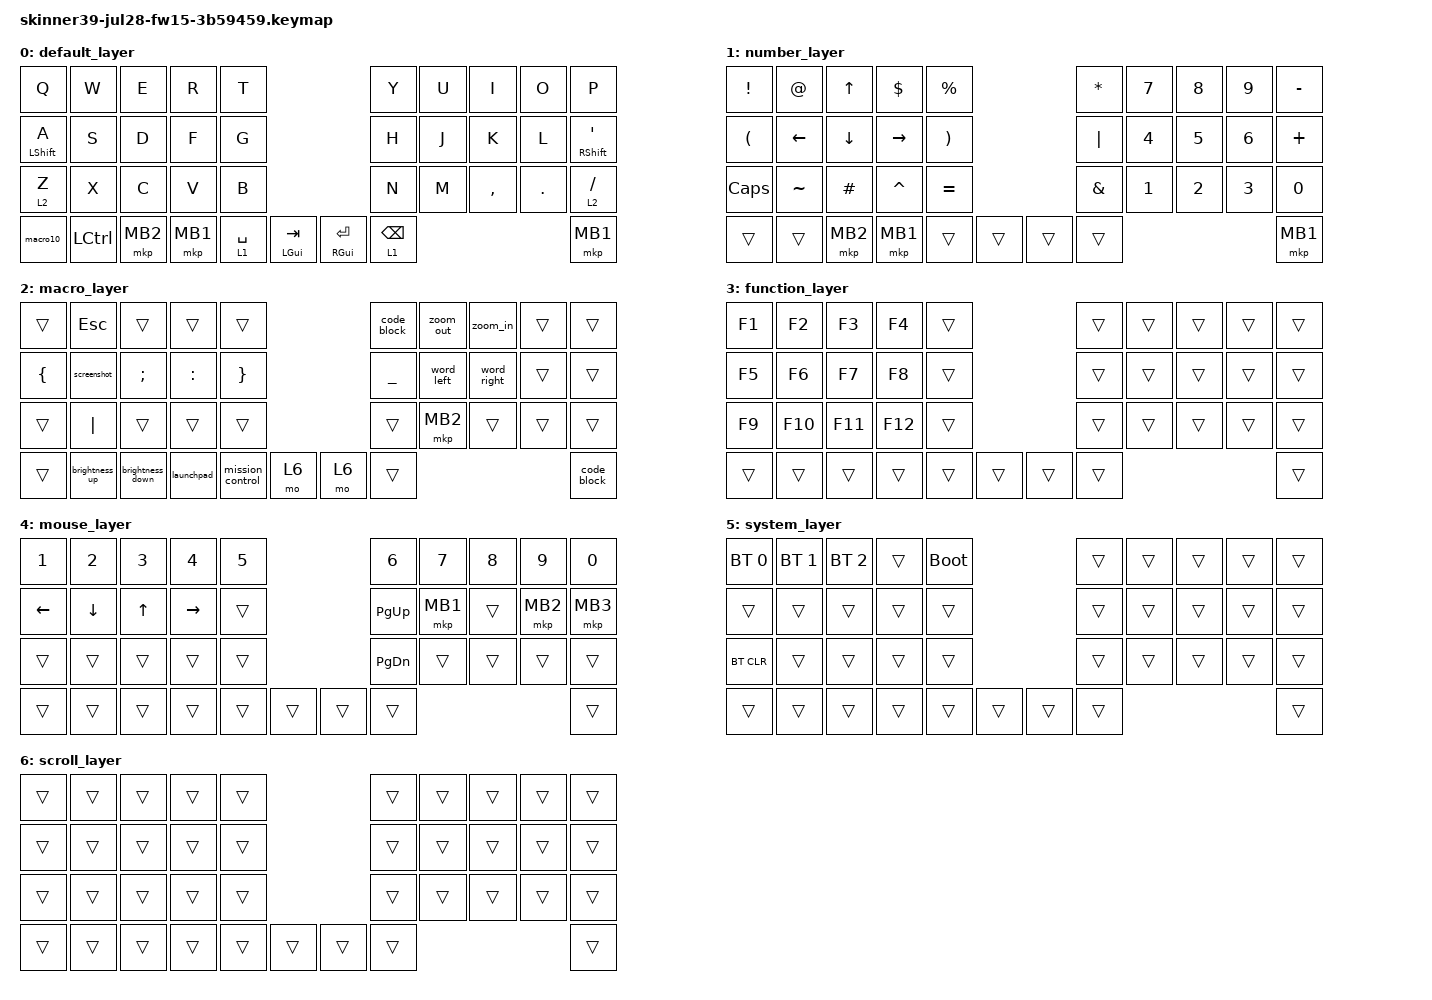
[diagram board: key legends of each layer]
#include <behaviors.dtsi>
#include <dt-bindings/zmk/bt.h>
#include <dt-bindings/zmk/keys.h>
#include <dt-bindings/zmk/pointing.h>
#include <input/processors.dtsi>
#include <dt-bindings/zmk/input_transform.h>

// Override the PMW listener to use layer 2 for scroll mode instead of layer 5
&pmw_listener {
    scroller {
        layers = <2>;  // Changed from 5 to 2
        // Invert Y axis and reduce scroll sensitivity (1/4 speed)
        input-processors = <&zip_xy_transform (INPUT_TRANSFORM_Y_INVERT)>, <&zip_xy_scaler 1 4>, <&zip_xy_to_scroll_mapper>;
    };
};

/ {
    behaviors {
        hml: homerow_mods_left {
            compatible = "zmk,behavior-hold-tap";
            label = "HOMEROW_MODS_LEFT";
            #binding-cells = <2>;
            flavor = "balanced";
            tapping-term-ms = <200>;      // Reduced from 280ms for faster shift activation
            quick-tap-ms = <125>;         // Reduced from 175ms
            require-prior-idle-ms = <100>; // Reduced from 150ms
            bindings = <&kp>, <&kp>;

            hold-trigger-key-positions = <5 6 7 8 9 15 16 17 18 19 25 26 27 28 29 33 34>;
            hold-trigger-on-release;
        };

        hmr: homerow_mods_right {
            compatible = "zmk,behavior-hold-tap";
            label = "HOMEROW_MODS_RIGHT";
            #binding-cells = <2>;
            flavor = "balanced";
            tapping-term-ms = <200>;      // Reduced from 280ms for faster shift activation
            quick-tap-ms = <125>;         // Reduced from 175ms
            require-prior-idle-ms = <100>; // Reduced from 150ms
            bindings = <&kp>, <&kp>;

            hold-trigger-key-positions = <0 1 2 3 4 10 11 12 13 14 20 21 22 23 24 30 31 32>;
            hold-trigger-on-release;
        };

        my_lt: my_layer_tap {
            compatible = "zmk,behavior-hold-tap";
            label = "MY_LAYER_TAP";
            #binding-cells = <2>;
            flavor = "balanced";
            tapping-term-ms = <280>;
            quick-tap-ms = <175>;
            require-prior-idle-ms = <150>;
            bindings = <&mo>, <&kp>;
        };
    };

    macros {
        screenshot: screenshot {
            compatible = "zmk,behavior-macro";
            label = "SCREENSHOT";
            #binding-cells = <0>;
            wait-ms = <40>;
            tap-ms = <40>;
            bindings =
                <&macro_press>,
                <&kp LGUI &kp LSHFT>,
                <&macro_tap>,
                <&kp N4>,
                <&macro_release>,
                <&kp LSHFT &kp LGUI>;
        };

        zoom_out: zoom_out {
            compatible = "zmk,behavior-macro";
            label = "ZOOM_OUT";
            #binding-cells = <0>;
            wait-ms = <40>;
            tap-ms = <40>;
            bindings =
                <&macro_press>,
                <&kp LGUI>,
                <&macro_tap>,
                <&kp MINUS>,
                <&macro_release>,
                <&kp LGUI>;
        };

        zoom_in: zoom_in {
            compatible = "zmk,behavior-macro";
            label = "ZOOM_IN";
            #binding-cells = <0>;
            wait-ms = <40>;
            tap-ms = <40>;
            bindings =
                <&macro_press>,
                <&kp LGUI &kp LSHFT>,
                <&macro_tap>,
                <&kp EQUAL>,
                <&macro_release>,
                <&kp LSHFT &kp LGUI>;
        };

        word_right: word_right {
            compatible = "zmk,behavior-macro";
            label = "WORD_RIGHT";
            #binding-cells = <0>;
            wait-ms = <40>;
            tap-ms = <40>;
            bindings =
                <&macro_press>,
                <&kp LCTRL>,
                <&macro_tap>,
                <&kp RIGHT>,
                <&macro_release>,
                <&kp LCTRL>;
        };

        word_left: word_left {
            compatible = "zmk,behavior-macro";
            label = "WORD_LEFT";
            #binding-cells = <0>;
            wait-ms = <40>;
            tap-ms = <40>;
            bindings =
                <&macro_press>,
                <&kp LCTRL>,
                <&macro_tap>,
                <&kp LEFT>,
                <&macro_release>,
                <&kp LCTRL>;
        };

        brightness_up: brightness_up {
            compatible = "zmk,behavior-macro";
            label = "BRIGHTNESS_UP";
            #binding-cells = <0>;
            bindings = <&kp F15>;
        };

        brightness_down: brightness_down {
            compatible = "zmk,behavior-macro";
            label = "BRIGHTNESS_DOWN";
            #binding-cells = <0>;
            bindings = <&kp F14>;
        };

        launchpad: launchpad {
            compatible = "zmk,behavior-macro";
            label = "LAUNCHPAD";
            #binding-cells = <0>;
            bindings = <&kp F4>;
        };

        mission_control: mission_control {
            compatible = "zmk,behavior-macro";
            label = "MISSION_CONTROL";
            #binding-cells = <0>;
            bindings = <&kp F3>;
        };

        code_block: code_block {
            compatible = "zmk,behavior-macro";
            label = "CODE_BLOCK";
            #binding-cells = <0>;
            wait-ms = <40>;
            tap-ms = <40>;
            bindings = <&kp GRAVE &kp GRAVE &kp GRAVE>;
        };

        macro10: macro10 {
            compatible = "zmk,behavior-macro";
            label = "CTRL_UP";
            #binding-cells = <0>;
            wait-ms = <40>;
            tap-ms = <40>;
            bindings =
                <&macro_press>,
                <&kp LCTRL>,
                <&macro_tap>,
                <&kp UP>,
                <&macro_release>,
                <&kp LCTRL>;
        };
    };

    keymap {
        compatible = "zmk,keymap";

        default_layer {
            bindings = <
  &kp Q          &kp W      &kp E        &kp R     &kp T                                                  &kp Y               &kp U  &kp I      &kp O    &kp P
  &hml LSHIFT A  &kp S      &kp D        &kp F     &kp G                                                  &kp H               &kp J  &kp K      &kp L    &hmr RSHIFT SQT
  &my_lt 2 Z     &kp X      &kp C        &kp V     &kp B                                                  &kp N               &kp M  &kp COMMA  &kp DOT  &my_lt 2 FSLH
  &macro10       &kp LCTRL  &mkp MB2  &mkp MB1  &my_lt 1 SPACE  &mt LEFT_GUI TAB  &mt RIGHT_GUI ENTER  &my_lt 1 BACKSPACE                             &mkp MB1
            >;
        };

        number_layer {
            bindings = <
  &kp EXCL  &kp AT     &kp UP    &kp DLLR   &kp PRCNT                  &kp ASTRK  &kp N7  &kp N8  &kp N9  &kp MINUS
  &kp LPAR  &kp LEFT   &kp DOWN  &kp RIGHT  &kp RPAR                   &kp PIPE   &kp N4  &kp N5  &kp N6  &kp PLUS
  &kp CAPS  &kp TILDE  &kp HASH  &kp CARET  &kp EQUAL                  &kp AMPS   &kp N1  &kp N2  &kp N3  &kp N0
  &trans    &trans     &mkp MB2  &mkp MB1   &trans     &trans  &trans  &trans                             &mkp MB1
            >;
        };

        macro_layer {
            bindings = <
  &trans    &kp ESC         &trans            &trans      &trans                          &code_block  &zoom_out   &zoom_in     &trans  &trans
  &kp LBRC  &screenshot     &kp SEMI          &kp COLON   &kp RBRC                        &kp UNDER  &word_left  &word_right  &trans  &trans
  &trans    &kp PIPE        &trans            &trans      &trans                          &trans  &mkp MB2    &trans       &trans  &trans
  &trans    &brightness_up  &brightness_down  &launchpad  &mission_control  &mo 6  &mo 6  &trans                                   &code_block
            >;
        };

        function_layer {
            bindings = <
  &kp F1  &kp F2   &kp F3   &kp F4   &trans                  &trans  &trans  &trans  &trans  &trans
  &kp F5  &kp F6   &kp F7   &kp F8   &trans                  &trans  &trans  &trans  &trans  &trans
  &kp F9  &kp F10  &kp F11  &kp F12  &trans                  &trans  &trans  &trans  &trans  &trans
  &trans  &trans   &trans   &trans   &trans  &trans  &trans  &trans                          &trans
            >;
        };

        mouse_layer {
            bindings = <
  &kp N1    &kp N2    &kp N3  &kp N4     &kp N5                  &kp N6         &kp N7    &kp N8  &kp N9    &kp N0
  &kp LEFT  &kp DOWN  &kp UP  &kp RIGHT  &trans                  &kp PAGE_UP    &mkp MB1  &trans  &mkp MB2  &mkp MB3
  &trans    &trans    &trans  &trans     &trans                  &kp PAGE_DOWN  &trans    &trans  &trans    &trans
  &trans    &trans    &trans  &trans     &trans  &trans  &trans  &trans                                     &trans
            >;
        };

        system_layer {
            bindings = <
  &bt BT_SEL 0  &bt BT_SEL 1  &bt BT_SEL 2  &trans  &bootloader                  &trans  &trans  &trans  &trans  &trans
  &trans        &trans        &trans        &trans  &trans                       &trans  &trans  &trans  &trans  &trans
  &bt BT_CLR    &trans        &trans        &trans  &trans                       &trans  &trans  &trans  &trans  &trans
  &trans        &trans        &trans        &trans  &trans       &trans  &trans  &trans                          &trans
            >;
        };

        scroll_layer {
            bindings = <
  &trans  &trans  &trans  &trans  &trans                  &trans  &trans  &trans  &trans  &trans
  &trans  &trans  &trans  &trans  &trans                  &trans  &trans  &trans  &trans  &trans
  &trans  &trans  &trans  &trans  &trans                  &trans  &trans  &trans  &trans  &trans
  &trans  &trans  &trans  &trans  &trans  &trans  &trans  &trans                          &trans
            >;
        };
    };
};
